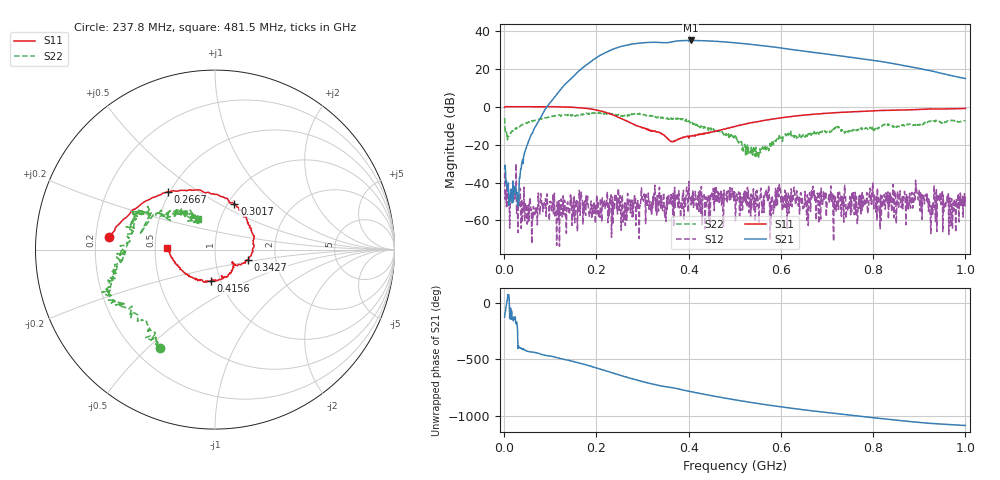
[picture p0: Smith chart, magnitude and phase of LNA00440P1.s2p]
! Created with skrf 1.9.0 (http://scikit-rf.org).
# Hz S RI R 50.0
!freq ReS11 ImS11 ReS21 ImS21 ReS12 ImS12 ReS22 ImS22
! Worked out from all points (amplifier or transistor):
!   1001 points, 1 MHz to 1 GHz, reference 50 ohm
!   highest |S21| = 34.9 dB at 404.6 MHz (marker M1)
!   |S21| within 3 dB of that: 256.6 MHz to 568.8 MHz (312.2 MHz wide, 75.6 % of centre)
!   unconditionally stable (mu >= 1): 248.3 MHz to 297.7 MHz; 326.8 MHz to 892.1 MHz; 892.1 MHz to end of sweep (the widest 3 of 35)
!   at 166.8 MHz: K = 1.17, MAG = 30.0 dB, |S12| = -45.1 dB
!   at 500.5 MHz: K = 1.93, MAG = 34.4 dB, |S12| = -46.1 dB
!   at 1 GHz: K = 3.05, MAG = 23.1 dB, |S12| = -46.9 dB
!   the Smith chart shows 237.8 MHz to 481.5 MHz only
!   S11 on the Smith chart (normalised r, x): 237.8 MHz: 0.26, +0.05; 266.7 MHz: 0.49, +0.38; 301.7 MHz: 1.07, +0.59; 342.7 MHz: 1.44, -0.17; 415.6 MHz: 0.90, -0.32; 481.5 MHz: 0.58, +0.01
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1000000  0.9661 -0.00407  -0.0128 -0.0199  -0.00489 0.0172  0.4009 0.3044
1.08892e8  0.5234 -0.8439  -0.8288 -1.55  -0.00517 0.000792  0.4223 -0.3737
1.67833e8  -0.2277 -0.9  -10.07 -0.4881  0.00415 0.000151  0.0486 -0.6335
2.07793e8  -0.6509 -0.4224  -15.84 15.86  -6.96e-06 -0.00121  -0.2127 -0.6533
2.37763e8  -0.5898 0.0689  -3.524 33.48  0.000971 0.0016  -0.3084 -0.548
2.66734e8  -0.2635 0.3227  21.16 36.67  0.00211 0.00255  -0.4755 -0.3723
2.83717e8  -0.064 0.3205  34.95 30.35  -0.00141 -0.00249  -0.5916 -0.2638
3.01699e8  0.1079 0.2559  45.24 17.38  -0.00101 0.0032  -0.596 -0.17
3.34666e8  0.209 0.00265  48.7 -10.04  -0.00176 -0.000144  -0.547 -0.0221
3.42658e8  0.183 -0.0558  46.53 -15.25  -0.000505 0.00218  -0.5088 -0.00887
3.73627e8  0.1034 -0.0817  41.83 -33.99  -0.000724 0.00442  -0.4337 0.1868
4.04596e8  0.0347 -0.1653  21.69 -51.47  -0.00114 0.00384  -0.318 0.2032
4.15585e8  -0.0244 -0.175  13.6 -53.87  0.00365 0.00206  -0.2643 0.1959
4.45555e8  -0.156 -0.1357  -9.263 -53.17  0.00436 0.00158  -0.1735 0.2092
4.81519e8  -0.2649 0.00725  -30.49 -40.69  0.00367 0.00319  -0.0932 0.1696
5.005e8  -0.2823 0.103  -37.57 -31.23  -0.00348 0.0035  -0.0958 0.1441
5.4046e8  -0.2229 0.3141  -42.05 -10.08  0.00665 -0.00154  -0.0652 0.0509
5.88412e8  -0.0398 0.4834  -35.53 10.21  0.00258 -0.00654  -0.1079 -0.0655
6.67333e8  0.3261 0.5336  -14.49 23.04  0.00147 -0.00368  -0.1932 -0.0331
7.53247e8  0.629 0.3729  2.704 19.76  -0.00168 7.17e-06  -0.2306 0.0114
8.34166e8  0.7875 0.1377  9.941 10.34  -0.00141 -0.00419  -0.3333 -0.00356
1e9  0.8118 -0.3873  5.495 -0.8217  0.00344 0.00296  -0.3032 0.2922
